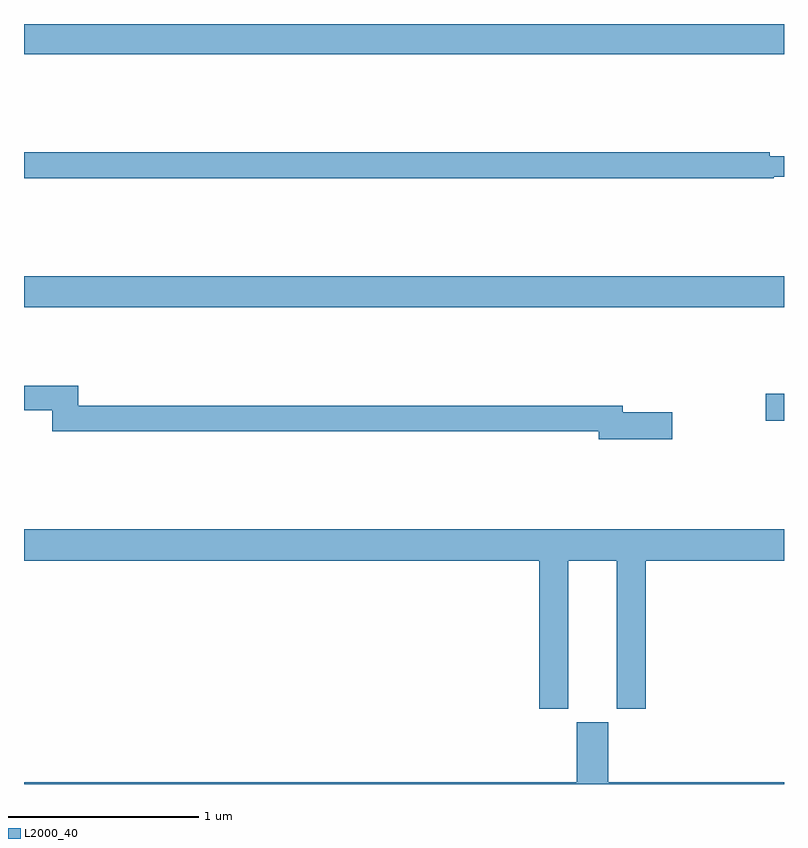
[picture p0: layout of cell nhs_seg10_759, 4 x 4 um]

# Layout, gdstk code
import gdstk
lib = gdstk.Library(unit=1e-6, precision=1e-09)
def R(c, l, rs):  # rectangles x0, y0, x1, y1
    for r in rs: c.add(gdstk.rectangle(r[:2], r[2:], *l))
def P(c, l, *ps):  # polygons
    for p in ps: c.add(gdstk.Polygon(p, *l))
L2000_40 = (2000, 40)

nhs_seg10_759 = lib.new_cell('nhs_seg10_759')
R(nhs_seg10_759, L2000_40, [(152.904,1274.411,153,1274.553), (149,1275.008,153,1275.172), (149,1276.34,153,1276.5)])
P(nhs_seg10_759, L2000_40, [(152.945,1275.696),(153,1275.696),(153,1275.805),(152.924,1275.805),(152.924,1275.824),(149,1275.824),(149,1275.688),(152.945,1275.688)],
  [(152.413,1274.456),(152.152,1274.456),(152.152,1274.492),(149.285,1274.492),(149.285,1274.596),(149,1274.596),(149,1274.467),(149.149,1274.467),(149.149,1274.356),(152.024,1274.356),(152.024,1274.314),(152.413,1274.314)],
  [(151.864,1273.676),(152.12,1273.676),(152.12,1272.897),(152.273,1272.897),(152.273,1273.676),(153,1273.676),(153,1273.84),(149,1273.84),(149,1273.676),(151.712,1273.676),(151.712,1272.897),(151.864,1272.897)],
  [(153,1272.508),(152.074,1272.508),(152.074,1272.825),(151.91,1272.825),(151.91,1272.508),(149,1272.508),(149,1272.5),(153,1272.5)])

lib.write_gds('nhs_seg10_759.gds')
